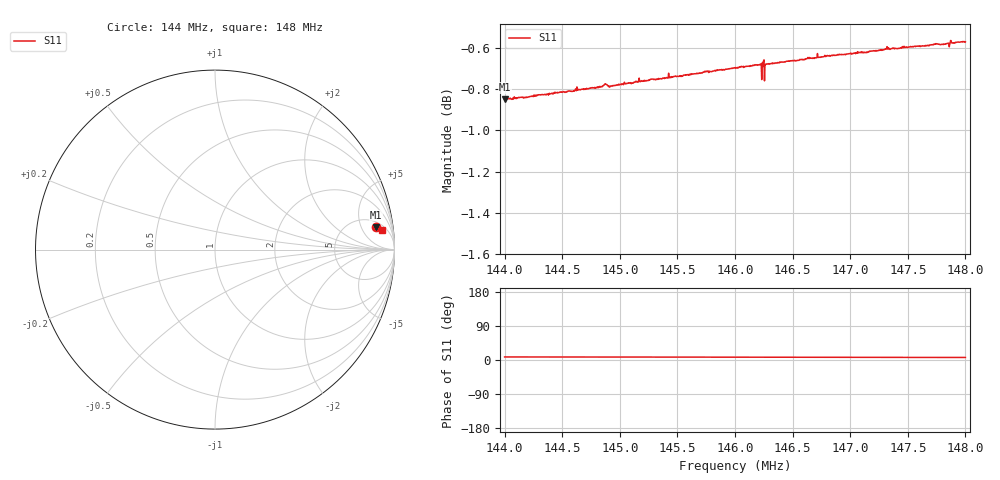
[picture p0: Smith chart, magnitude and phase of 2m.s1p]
! Calibrated averaged scanner-service zoom
# Hz S RI R 50
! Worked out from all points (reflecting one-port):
!   1001 points, 144 MHz to 148 MHz, reference 50 ohm
!   lowest |S11| = -0.8 dB at 144 MHz (marker M1), VSWR 20.47, Z = 335 + j479 ohm
!   phase of S11 starts at 8 deg and turns -1 deg over the sweep
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1.44e8  0.8982 0.1267
1.44004e8  0.8979 0.1268
1.44184e8  0.8992 0.1262
1.445e8  0.9018 0.1258
1.448e8  0.9044 0.1248
1.44872e8  0.9062 0.1247
1.44916e8  0.9049 0.1242
1.45e8  0.9059 0.124
1.45272e8  0.9089 0.1231
1.455e8  0.9105 0.1223
1.46e8  0.9151 0.12
1.46208e8  0.9168 0.1189
1.46212e8  0.9169 0.1189
1.46232e8  0.9094 0.1171
1.46236e8  0.9179 0.1186
1.46248e8  0.9189 0.1187
1.46252e8  0.9194 0.1196
1.46256e8  0.909 0.1156
1.46276e8  0.9172 0.1188
1.4628e8  0.9173 0.1187
1.46288e8  0.9175 0.1187
1.465e8  0.9193 0.1175
1.468e8  0.9222 0.1158
1.47e8  0.9232 0.1147
1.47132e8  0.9239 0.1137
1.47316e8  0.926 0.1127
1.475e8  0.9269 0.1113
1.48e8  0.9302 0.1085
